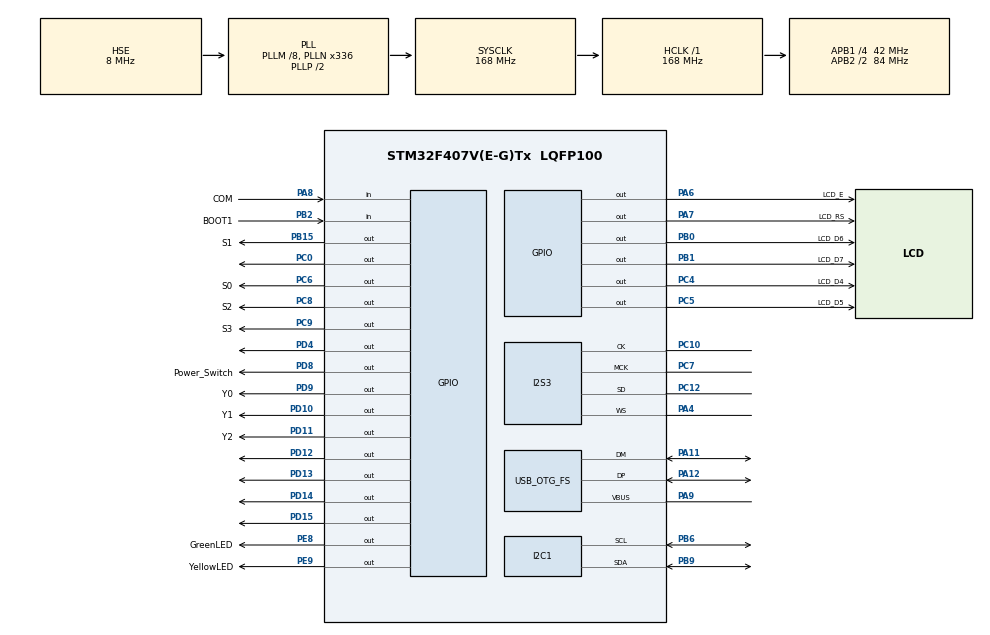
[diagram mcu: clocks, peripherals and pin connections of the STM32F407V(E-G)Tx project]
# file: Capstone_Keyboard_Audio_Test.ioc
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Dma.Request0=SPI3_TX
Dma.SPI3_TX.0.Direction=DMA_MEMORY_TO_PERIPH
Dma.SPI3_TX.0.FIFOMode=DMA_FIFOMODE_ENABLE
Dma.SPI3_TX.0.FIFOThreshold=DMA_FIFO_THRESHOLD_FULL
Dma.SPI3_TX.0.Instance=DMA1_Stream5
Dma.SPI3_TX.0.MemBurst=DMA_MBURST_SINGLE
Dma.SPI3_TX.0.MemDataAlignment=DMA_MDATAALIGN_HALFWORD
Dma.SPI3_TX.0.MemInc=DMA_MINC_ENABLE
Dma.SPI3_TX.0.Mode=DMA_CIRCULAR
Dma.SPI3_TX.0.PeriphBurst=DMA_PBURST_SINGLE
Dma.SPI3_TX.0.PeriphDataAlignment=DMA_PDATAALIGN_HALFWORD
Dma.SPI3_TX.0.PeriphInc=DMA_PINC_DISABLE
Dma.SPI3_TX.0.Priority=DMA_PRIORITY_LOW
FATFS._USE_LFN=0
I2S3.AudioFreq=I2S_AUDIOFREQ_44K
I2S3.ErrorAudioFreq=0.24 %
I2S3.FullDuplexMode=I2S_FULLDUPLEXMODE_DISABLE
I2S3.Instance=SPI$Index
I2S3.RealAudioFreq=44.108 KHz
I2S3.VirtualMode=I2S_MODE_MASTER
Mcu.Family=STM32F4
Mcu.Name=STM32F407V(E-G)Tx
Mcu.Package=LQFP100
NVIC.DMA1_Stream5_IRQn=true\:0\:0\:false\:false\:true\:false\:true\:true
NVIC.OTG_FS_IRQn=true\:0\:0\:false\:false\:true\:false\:true\:true
NVIC.PriorityGroup=NVIC_PRIORITYGROUP_0
NVIC.TIM2_IRQn=true\:0\:0\:false\:false\:true\:true\:true\:true
PA11.Mode=Host_Only
PA11.Signal=USB_OTG_FS_DM
PA12.Mode=Host_Only
PA12.Signal=USB_OTG_FS_DP
PA13.Mode=Serial_Wire
PA13.Signal=SYS_JTMS-SWDIO
PA14.Mode=Serial_Wire
PA14.Signal=SYS_JTCK-SWCLK
PA4.Mode=Half_Duplex_Master
PA4.Signal=I2S3_WS
PA6.GPIO_Label=LCD_E
PA6.Signal=GPIO_Output
PA7.GPIO_Label=LCD_RS
PA7.Signal=GPIO_Output
PA8.GPIO_Label=COM
PA8.Signal=GPIO_Input
PA9.Mode=Activate_VBUS
PA9.Signal=USB_OTG_FS_VBUS
PB0.GPIO_Label=LCD_D6
PB0.Signal=GPIO_Output
PB1.GPIO_Label=LCD_D7
PB1.Signal=GPIO_Output
PB15.GPIO_Label=S1
PB15.Signal=GPIO_Output
PB2.GPIO_Label=BOOT1
PB2.Signal=GPIO_Input
PB6.Mode=I2C
PB6.Signal=I2C1_SCL
PB9.Mode=I2C
PB9.Signal=I2C1_SDA
PC0.Signal=GPIO_Output
PC10.Mode=Half_Duplex_Master
PC10.Signal=I2S3_CK
PC12.Mode=Half_Duplex_Master
PC12.Signal=I2S3_SD
PC4.GPIO_Label=LCD_D4
PC4.Signal=GPIO_Output
PC5.GPIO_Label=LCD_D5
PC5.Signal=GPIO_Output
PC6.GPIO_Label=S0
PC6.Signal=GPIO_Output
PC7.Mode=Master_Clock_Activated
PC7.Signal=I2S3_MCK
PC8.GPIO_Label=S2
PC8.Signal=GPIO_Output
PC9.GPIO_Label=S3
PC9.Signal=GPIO_Output
PD10.GPIO_Label=Y1
PD10.Signal=GPIO_Output
PD11.GPIO_Label=Y2
PD11.Signal=GPIO_Output
PD12.Signal=GPIO_Output
PD13.Signal=GPIO_Output
PD14.Signal=GPIO_Output
PD15.Signal=GPIO_Output
PD4.Signal=GPIO_Output
PD8.GPIO_Label=Power_Switch
PD8.Signal=GPIO_Output
PD9.GPIO_Label=Y0
PD9.Signal=GPIO_Output
PE8.GPIO_Label=GreenLED
PE8.Signal=GPIO_Output
PE9.GPIO_Label=YellowLED
PE9.Signal=GPIO_Output
PH0-OSC_IN.Mode=HSE-External-Oscillator
PH0-OSC_IN.Signal=RCC_OSC_IN
PH1-OSC_OUT.Mode=HSE-External-Oscillator
PH1-OSC_OUT.Signal=RCC_OSC_OUT
ProjectManager.HeapSize=0x2000
ProjectManager.StackSize=0x2000
ProjectManager.TargetToolchain=STM32CubeIDE
RCC.48MHZClocksFreq_Value=48000000
RCC.AHBFreq_Value=168000000
RCC.APB1CLKDivider=RCC_HCLK_DIV4
RCC.APB1Freq_Value=42000000
RCC.APB1TimFreq_Value=84000000
RCC.APB2CLKDivider=RCC_HCLK_DIV2
RCC.APB2Freq_Value=84000000
RCC.APB2TimFreq_Value=168000000
RCC.CortexFreq_Value=168000000
RCC.HCLKFreq_Value=168000000
RCC.HSE_VALUE=8000000
RCC.HSI_VALUE=16000000
RCC.LSE_VALUE=32768
RCC.PLLI2SN=271
RCC.PLLI2SR=6
RCC.PLLM=8
RCC.PLLN=336
RCC.PLLQ=7
RCC.SYSCLKFreq_VALUE=168000000
RCC.SYSCLKSource=RCC_SYSCLKSOURCE_PLLCLK
RCC.VCOOutputFreq_Value=336000000
TIM2.Period=41999
TIM2.TIM_MasterOutputTrigger=TIM_TRGO_UPDATE
USB_HOST.USBH_HandleTypeDef-MSC_FS=hUsbHostFS
USB_HOST.VirtualModeFS=Msc
USB_OTG_FS.VirtualMode=Host_Only
USB_OTG_FS.phy_itface=HCD_PHY_EMBEDDED
VP_FATFS_VS_USB.Mode=USB
VP_RNG_VS_RNG.Mode=RNG_Activate
VP_TIM2_VS_ClockSourceINT.Mode=Internal
VP_USB_HOST_VS_USB_HOST_MSC_FS.Mode=MSC_FS
board=STM32F407G-DISC1

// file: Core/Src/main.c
/* USER CODE BEGIN Header */
/**
  ******************************************************************************
  * @file           : main.c
  * @brief          : Main program body
  ******************************************************************************
  * @attention
  *
  * Copyright (c) 2024 STMicroelectronics.
  * All rights reserved.
  *
  * This software is licensed under terms that can be found in the LICENSE file
  * in the root directory of this software component.
  * If no LICENSE file comes with this software, it is provided AS-IS.
  *
  ******************************************************************************
  */
/* USER CODE END Header */
#include "main.h"
#include "dma.h"
#include "fatfs.h"
#include "i2c.h"
#include "i2s.h"
#include "rng.h"
#include "tim.h"
#include "usb_host.h"
#include "gpio.h"

/* USER CODE BEGIN Includes */
#include "audioI2S.h"
#include "MY_CS43L22.h"
#include "wav_player.h"
#include <stdlib.h>
#include <time.h>
#include <string.h>
#include "app.h"
#include <stdatomic.h>
#include <stdio.h>
#include <stdint.h>
#include "screen.h"
#include "keyboard.h"
#include "ESLApplication.h"

/* USER CODE END Includes */

/* USER CODE BEGIN PTD */
Lcd_HandleTypeDef lcd;

/* USER CODE END PTD */

/* USER CODE BEGIN PV */
uint8_t columnNumber = 0;
uint8_t current_row = 0;
int screenColumn = 0;
int screenRow = 0;
atomic_int keyDetected = 0;

// Global word array with space for 32 characters
char current_word[80] = "";
char expected_word[80] = "";

/* USER CODE END PV */

void SystemClock_Config(void);
void MX_USB_HOST_Process(void);

int main(void)
{

  /* MCU Configuration--------------------------------------------------------*/

  /* Reset of all peripherals, Initializes the Flash interface and the Systick. */
  HAL_Init();

  /* Configure the system clock */
  SystemClock_Config();

  /* Initialize all configured peripherals */
  MX_GPIO_Init();
  MX_DMA_Init();
  MX_I2C1_Init();
  MX_I2S3_Init();
  MX_USB_HOST_Init();
  MX_FATFS_Init();
  MX_RNG_Init();
  MX_TIM2_Init();
  /* USER CODE BEGIN 2 */
  CS43_Init(hi2c1, MODE_I2S);
  CS43_SetVolume(255); // this goes from 0-255
  CS43_Enable_RightLeft(CS43_RIGHT_LEFT);
  audioI2S_setHandle(&hi2s3);

  // Turn on Power Switch
  HAL_GPIO_WritePin(Power_Switch_GPIO_Port, Power_Switch_Pin, SET);

  // Initialize LCD screen
  Lcd_PortType ports[] = {
	LCD_D4_GPIO_Port, LCD_D5_GPIO_Port, LCD_D6_GPIO_Port, LCD_D7_GPIO_Port
	};

  Lcd_PinType pins[] = {LCD_D4_Pin, LCD_D5_Pin, LCD_D6_Pin, LCD_D7_Pin};

  // Create LCD handle
  lcd = Lcd_create(ports, pins, LCD_RS_GPIO_Port, LCD_RS_Pin, LCD_E_GPIO_Port, LCD_E_Pin, LCD_4_BIT_MODE);

  // initialize LCD
  Lcd_init(&lcd);

  chooseLanguageScreen();

  // start timer
  if (HAL_TIM_Base_Start_IT(&htim2) != HAL_OK)
  {
	  Error_Handler();
  }

  /* USER CODE END 2 */

  /* Infinite loop */
  /* USER CODE BEGIN WHILE */
  while (1)
  {
	  scanKeyboard(&lcd, &screenRow, &screenColumn);

	  MX_USB_HOST_Process();
  }
    /* USER CODE END WHILE */
    MX_USB_HOST_Process();

}

void SystemClock_Config(void)
{
  RCC_OscInitTypeDef RCC_OscInitStruct = {0};
  RCC_ClkInitTypeDef RCC_ClkInitStruct = {0};

  /** Configure the main internal regulator output voltage
  */
  __HAL_RCC_PWR_CLK_ENABLE();
  __HAL_PWR_VOLTAGESCALING_CONFIG(PWR_REGULATOR_VOLTAGE_SCALE1);

  /** Initializes the RCC Oscillators according to the specified parameters
  * in the RCC_OscInitTypeDef structure.
  */
  RCC_OscInitStruct.OscillatorType = RCC_OSCILLATORTYPE_HSE;
  RCC_OscInitStruct.HSEState = RCC_HSE_ON;
  RCC_OscInitStruct.PLL.PLLState = RCC_PLL_ON;
  RCC_OscInitStruct.PLL.PLLSource = RCC_PLLSOURCE_HSE;
  RCC_OscInitStruct.PLL.PLLM = 8;
  RCC_OscInitStruct.PLL.PLLN = 336;
  RCC_OscInitStruct.PLL.PLLP = RCC_PLLP_DIV2;
  RCC_OscInitStruct.PLL.PLLQ = 7;
  if (HAL_RCC_OscConfig(&RCC_OscInitStruct) != HAL_OK)
  {
    Error_Handler();
  }

  /** Initializes the CPU, AHB and APB buses clocks
  */
  RCC_ClkInitStruct.ClockType = RCC_CLOCKTYPE_HCLK|RCC_CLOCKTYPE_SYSCLK
                              |RCC_CLOCKTYPE_PCLK1|RCC_CLOCKTYPE_PCLK2;
  RCC_ClkInitStruct.SYSCLKSource = RCC_SYSCLKSOURCE_PLLCLK;
  RCC_ClkInitStruct.AHBCLKDivider = RCC_SYSCLK_DIV1;
  RCC_ClkInitStruct.APB1CLKDivider = RCC_HCLK_DIV4;
  RCC_ClkInitStruct.APB2CLKDivider = RCC_HCLK_DIV2;

  if (HAL_RCC_ClockConfig(&RCC_ClkInitStruct, FLASH_LATENCY_5) != HAL_OK)
  {
    Error_Handler();
  }
}

/* USER CODE BEGIN 4 */
void HAL_TIM_PeriodElapsedCallback(TIM_HandleTypeDef *htim) // 4 kHz clock
{
	if (htim -> Instance == TIM2 && atomic_load(&keyDetected) == 0)
	{
		// Reset all rows to high
		HAL_GPIO_WritePin(Y0_GPIO_Port, Y0_Pin, SET);
		HAL_GPIO_WritePin(Y1_GPIO_Port, Y1_Pin, SET);
		HAL_GPIO_WritePin(Y2_GPIO_Port, Y2_Pin, SET);

		// Drive the current row low
		switch (current_row)
		{
		case 0:
			HAL_GPIO_WritePin(Y0_GPIO_Port, Y0_Pin, RESET);
			break;
		case 1:
			HAL_GPIO_WritePin(Y1_GPIO_Port, Y1_Pin, RESET);
			break;
		case 2:
			HAL_GPIO_WritePin(Y2_GPIO_Port, Y2_Pin, RESET);
			break;
		}

		current_row = (current_row + 1) % 3; // update current row
	}
}

/* USER CODE END 4 */

void Error_Handler(void)
{
  __disable_irq();
  while (1)
  {
  }
}
